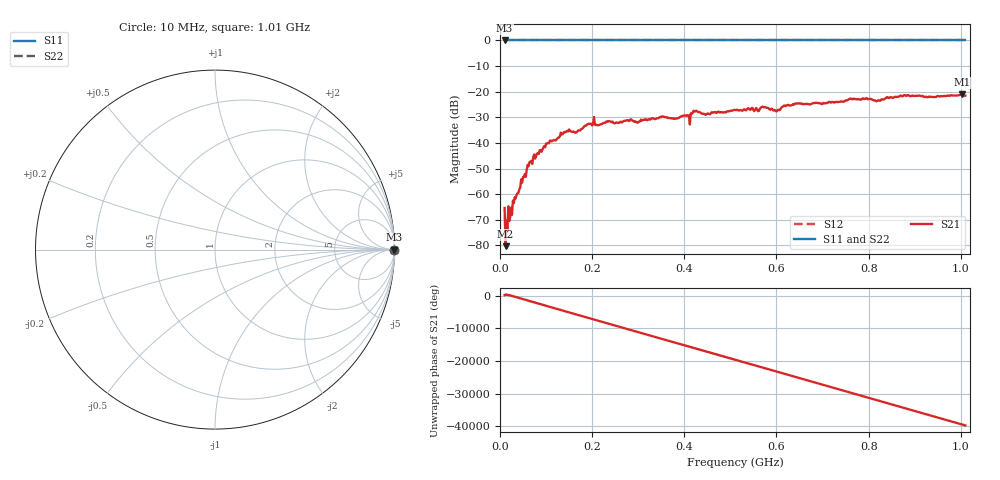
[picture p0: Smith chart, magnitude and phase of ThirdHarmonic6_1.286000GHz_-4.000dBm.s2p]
! 8/16/2025 2:01:40 PM
! C:\ANRITSUVNA\TEMP\TEMP.S2P
! CHANNEL.1
! TR.MEASUREMENT
! RAW.DATA
! RF.CORRECTION.OFF
! AVERAGING.OFF
! IF.BANDWIDTH: 5KHZ
! SWEEPTYPE:  FREQ.SWEEP(Linear)
! Reference Plane Port Info
! PORT:  PORT1  PORT2
! DISTANCE:  0  m  0  m
! TIME:  0  s  0  s
! PHASE.OFFSET:  0  deg.  0  deg.
! LOSS:  0  dB  0  dB
! REF.LOSS:  0  dB  0  dB
! REF.FREQ:  0  Hz  0  Hz
! Power Info
! POWER:  -20  dBm  -20  dBm
! EFF.POWER:  -20  dBm  -20  dBm
! SOURCE.ATTEN:  0  dB  0  dB
! TEST.ATTEN:  0  dB  0  dB
# GHZ S RI R 50.0
! FREQ.GHZ  S11RE  S11IM  S21RE  S21IM  S12RE  S12IM  S22RE  S22IM
!; PortSelection: Port_12
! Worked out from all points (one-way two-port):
!   501 points, 10 MHz to 1.01 GHz, reference 50 ohm
!   highest |S21| = -21.01 dB at 1.002 GHz (marker M1); lowest = -80.3 dB at 12 MHz (marker M2)
!   lowest |S11| = 0.0 dB at 10 MHz (marker M3)
!   |S11| at or under -10 dB: nowhere
!   |S22| runs from 0.0 to 0.0 dB; largest |S21 - S12| = 1.1
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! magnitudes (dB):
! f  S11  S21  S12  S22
! 10 MHz  0.0  -65.4  0.0  0.0
! 12 MHz  0.0  -80.3  0.0  0.0
! 16 MHz  0.0  -74.7  0.0  0.0
! 32 MHz  0.0  -61.2  0.0  0.0
! 50 MHz  0.0  -53.3  0.0  0.0
! 64 MHz  0.0  -47.6  0.0  0.0
! 76 MHz  0.0  -46.1  0.0  0.0
! 136 MHz  0.0  -36.6  0.0  0.0
! 178 MHz  0.0  -34.5  0.0  0.0
! 200 MHz  0.0  -33.2  0.0  0.0
! 344 MHz  0.0  -30.4  0.0  0.0
! 408 MHz  0.0  -29.3  0.0  0.0
! 424 MHz  0.0  -27.7  0.0  0.0
! 444 MHz  0.0  -28.7  0.0  0.0
! 510 MHz  0.0  -27.1  0.0  0.0
! 572 MHz  0.0  -26.1  0.0  0.0
! 602 MHz  0.0  -27.3  0.0  0.0
! 620 MHz  0.0  -25.6  0.0  0.0
! 678 MHz  0.0  -24.6  0.0  0.0
! 844 MHz  0.0  -22.5  0.0  0.0
! 1.002 GHz  0.0  -21.0  0.0  0.0
! 1.01 GHz  0.0  -21.5  0.0  0.0
